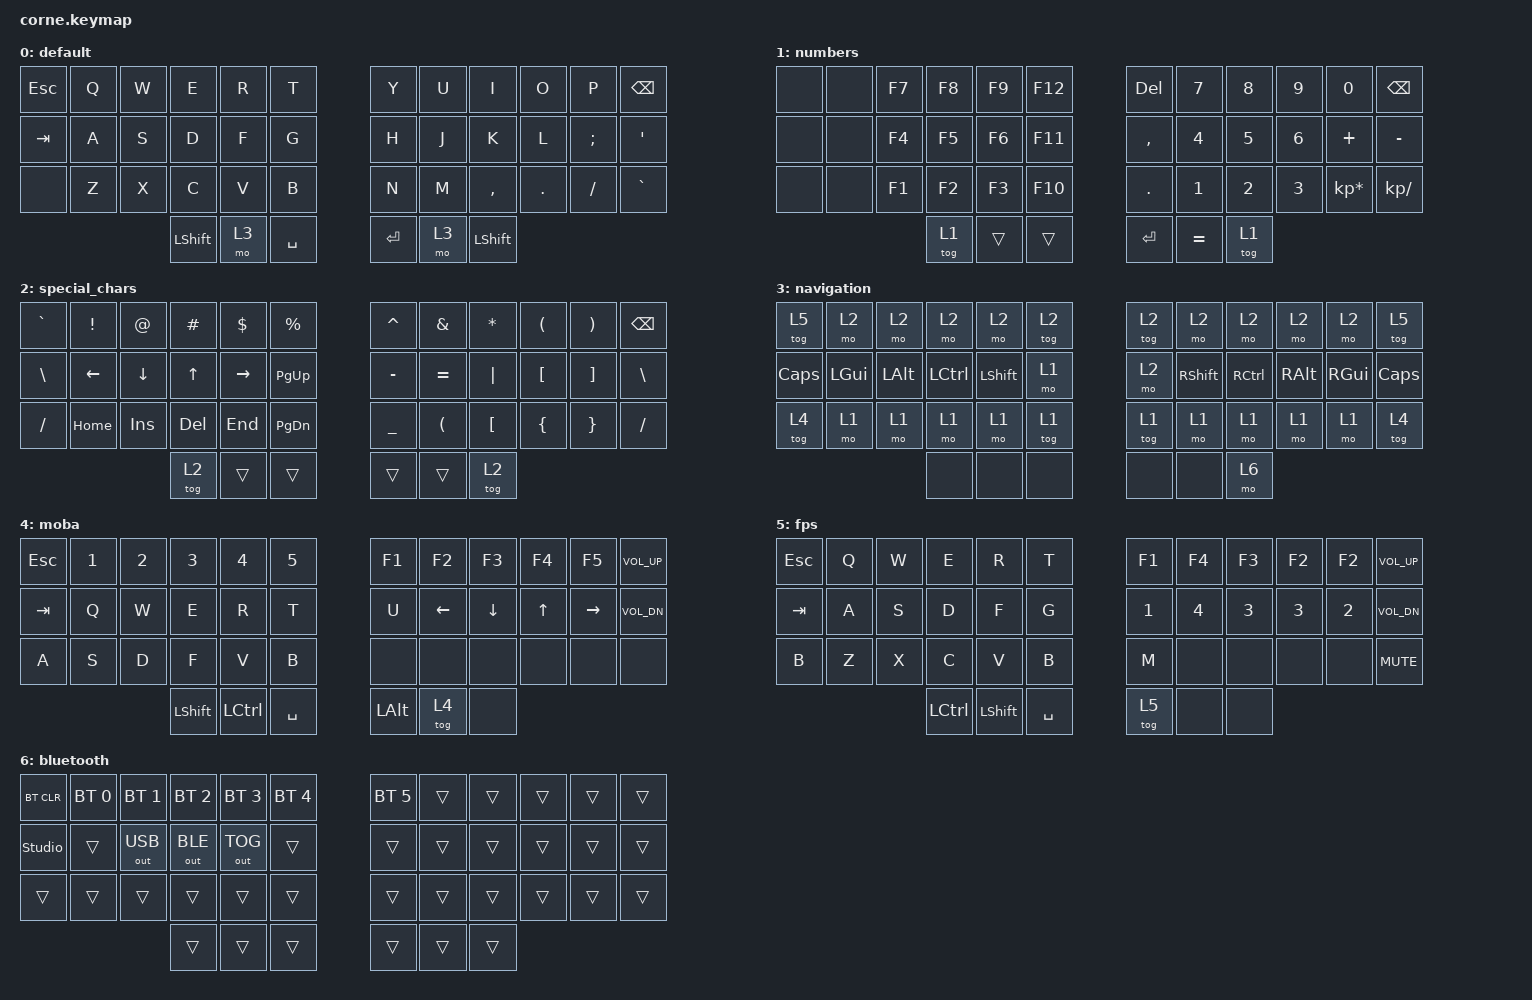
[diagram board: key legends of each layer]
/*
 * Copyright (c) 2020 The ZMK Contributors
 *
 * SPDX-License-Identifier: MIT
 */

#include <behaviors.dtsi>
#include <dt-bindings/zmk/keys.h>
#include <dt-bindings/zmk/bt.h>
#include <dt-bindings/zmk/outputs.h>

/ {
    keymap {
        compatible = "zmk,keymap";

        default {
            bindings = <
                &kp ESC       &kp Q         &kp W         &kp E         &kp R         &kp T         &kp Y         &kp U         &kp I         &kp O         &kp P         &kp BSPC
                &kp TAB       &kp A         &kp S         &kp D         &kp F         &kp G         &kp H         &kp J         &kp K         &kp L         &kp SEMI      &kp SQT
                &none         &kp Z         &kp X         &kp C         &kp V         &kp B         &kp N         &kp M         &kp COMMA     &kp DOT       &kp FSLH      &kp GRAVE
                                                          &kp LSHFT     &mo 3         &kp SPACE     &kp ENTER     &mo 3         &kp LSHFT
            >;
        };

        numbers {
            bindings = <
                &none         &none         &kp F7        &kp F8        &kp F9        &kp F12       &kp DEL       &kp N7        &kp N8        &kp N9        &kp N0        &kp BSPC
                &none         &none         &kp F4        &kp F5        &kp F6        &kp F11       &kp COMMA     &kp N4        &kp N5        &kp N6        &kp PLUS      &kp MINUS
                &none         &none         &kp F1        &kp F2        &kp F3        &kp F10       &kp DOT       &kp N1        &kp N2        &kp N3        &kp KP_ASTERISK &kp KP_SLASH
                                                          &tog 1        &trans        &trans        &kp ENTER     &kp EQUAL     &tog 1
            >;
        };

        special_chars {
            bindings = <
                &kp GRAVE     &kp EXCL      &kp AT        &kp HASH      &kp DLLR      &kp PRCNT     &kp CARET     &kp AMPS      &kp ASTRK     &kp LPAR      &kp RPAR      &kp BSPC
                &kp BSLH      &kp LEFT      &kp DOWN      &kp UP        &kp RIGHT     &kp PG_UP     &kp MINUS     &kp EQUAL     &kp PIPE      &kp LBKT      &kp RBKT      &kp BSLH
                &kp FSLH      &kp HOME      &kp INS       &kp DEL       &kp END       &kp PG_DN     &kp UNDER     &kp LPAR      &kp LBKT      &kp LBRC      &kp RBRC      &kp SLASH
                                                          &tog 2        &trans        &trans        &trans        &trans        &tog 2
            >;
        };

        navigation {
            bindings = <
                &tog 5        &mo 2         &mo 2         &mo 2         &mo 2         &tog 2        &tog 2        &mo 2         &mo 2         &mo 2         &mo 2         &tog 5
                &kp CAPS      &kp LGUI      &kp LALT      &kp LCTRL     &kp LSHFT     &mo 1         &mo 2         &kp RSHFT     &kp RCTRL     &kp RALT      &kp RGUI      &kp CAPS
                &tog 4        &mo 1         &mo 1         &mo 1         &mo 1         &tog 1        &tog 1        &mo 1         &mo 1         &mo 1         &mo 1         &tog 4
                                                          &none         &none         &none         &none         &none         &mo 6
            >;
        };

        moba {
            bindings = <
                &kp ESC       &kp N1        &kp N2        &kp N3        &kp N4        &kp N5        &kp F1        &kp F2        &kp F3        &kp F4        &kp F5        &kp C_VOL_UP
                &kp TAB       &kp Q         &kp W         &kp E         &kp R         &kp T         &kp U         &kp LEFT      &kp DOWN      &kp UP        &kp RIGHT     &kp C_VOL_DN
                &kp A         &kp S         &kp D         &kp F         &kp V         &kp B         &none         &none         &none         &none         &none         &none
                                                          &kp LSHFT     &kp LCTRL     &kp SPACE     &kp LALT      &tog 4        &none
            >;
        };

        fps {
            bindings = <
                &kp ESC       &kp Q         &kp W         &kp E         &kp R         &kp T         &kp F1        &kp F4        &kp F3        &kp F2        &kp F2        &kp C_VOL_UP
                &kp TAB       &kp A         &kp S         &kp D         &kp F         &kp G         &kp N1        &kp N4        &kp N3        &kp N3        &kp N2        &kp C_VOL_DN
                &kp B         &kp Z         &kp X         &kp C         &kp V         &kp B         &kp M         &none         &none         &none         &none         &kp C_MUTE
                                                          &kp LCTRL     &kp LSHFT     &kp SPACE     &tog 5         &none         &none
            >;
        };

        bluetooth {
            bindings = <
                &bt BT_CLR     &bt BT_SEL 0  &bt BT_SEL 1  &bt BT_SEL 2  &bt BT_SEL 3  &bt BT_SEL 4  &bt BT_SEL 5  &trans        &trans        &trans        &trans        &trans
                &studio_unlock &trans        &out OUT_USB  &out OUT_BLE  &out OUT_TOG  &trans        &trans        &trans        &trans        &trans        &trans        &trans
                &trans         &trans        &trans        &trans        &trans        &trans        &trans        &trans        &trans        &trans        &trans        &trans
                                                           &trans        &trans        &trans        &trans        &trans        &trans
            >;
        };

    };
};
